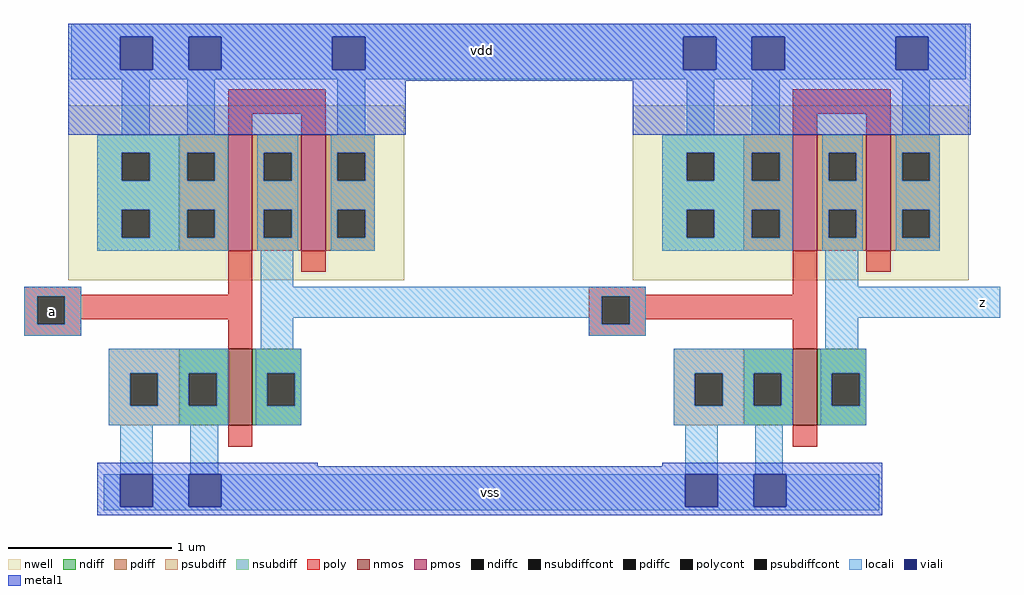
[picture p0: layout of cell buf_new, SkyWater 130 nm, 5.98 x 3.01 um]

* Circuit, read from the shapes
.subckt buf_new vdd a z vss
XM1 n1 a vss vss sky130_fd_pr__nfet_01v8 w=0.47 l=0.15
XM2 z n1 vss vss sky130_fd_pr__nfet_01v8 w=0.47 l=0.15
XM3 n1 a vdd vdd sky130_fd_pr__pfet_01v8 w=0.71 l=0.15 m=2
XM4 z n1 vdd vdd sky130_fd_pr__pfet_01v8 w=0.71 l=0.15 m=2
.ends

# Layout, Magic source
magic
tech sky130A
<< nwell >>
rect 288 88 494 195
rect 634 88 840 195
<< nmos >>
rect 386 -1 401 46
rect 732 -1 747 46
<< pmos >>
rect 386 106 401 177
rect 431 106 446 177
rect 732 106 747 177
rect 777 106 792 177
<< ndiff >>
rect 356 31 386 46
rect 356 11 362 31
rect 379 11 386 31
rect 356 -1 386 11
rect 401 31 431 46
rect 401 11 410 31
rect 427 11 431 31
rect 401 -1 431 11
rect 702 31 732 46
rect 702 11 708 31
rect 725 11 732 31
rect 702 -1 732 11
rect 747 31 777 46
rect 747 11 756 31
rect 773 11 777 31
rect 747 -1 777 11
<< pdiff >>
rect 356 166 386 177
rect 356 149 361 166
rect 378 149 386 166
rect 356 131 386 149
rect 356 114 361 131
rect 378 114 386 131
rect 356 106 386 114
rect 401 166 431 177
rect 401 149 408 166
rect 425 149 431 166
rect 401 131 431 149
rect 401 114 408 131
rect 425 114 431 131
rect 401 106 431 114
rect 446 166 476 177
rect 446 149 453 166
rect 470 149 476 166
rect 446 131 476 149
rect 446 114 453 131
rect 470 114 476 131
rect 446 106 476 114
rect 702 166 732 177
rect 702 149 707 166
rect 724 149 732 166
rect 702 131 732 149
rect 702 114 707 131
rect 724 114 732 131
rect 702 106 732 114
rect 747 166 777 177
rect 747 149 754 166
rect 771 149 777 166
rect 747 131 777 149
rect 747 114 754 131
rect 771 114 777 131
rect 747 106 777 114
rect 792 166 822 177
rect 792 149 799 166
rect 816 149 822 166
rect 792 131 822 149
rect 792 114 799 131
rect 816 114 822 131
rect 792 106 822 114
<< ndiffc >>
rect 362 11 379 31
rect 410 11 427 31
rect 708 11 725 31
rect 756 11 773 31
<< pdiffc >>
rect 361 149 378 166
rect 361 114 378 131
rect 408 149 425 166
rect 408 114 425 131
rect 453 149 470 166
rect 453 114 470 131
rect 707 149 724 166
rect 707 114 724 131
rect 754 149 771 166
rect 754 114 771 131
rect 799 149 816 166
rect 799 114 816 131
<< psubdiff >>
rect 313 31 356 46
rect 313 11 326 31
rect 343 11 356 31
rect 313 -1 356 11
rect 659 31 702 46
rect 659 11 672 31
rect 689 11 702 31
rect 659 -1 702 11
<< nsubdiff >>
rect 306 166 356 177
rect 306 149 321 166
rect 338 149 356 166
rect 306 131 356 149
rect 306 114 321 131
rect 338 114 356 131
rect 306 106 356 114
rect 652 166 702 177
rect 652 149 667 166
rect 684 149 702 166
rect 652 131 702 149
rect 652 114 667 131
rect 684 114 702 131
rect 652 106 702 114
<< psubdiffcont >>
rect 326 11 343 31
rect 672 11 689 31
<< nsubdiffcont >>
rect 321 149 338 166
rect 321 114 338 131
rect 667 149 684 166
rect 667 114 684 131
<< poly >>
rect 386 190 446 205
rect 386 177 401 190
rect 431 177 446 190
rect 732 190 792 205
rect 732 177 747 190
rect 777 177 792 190
rect 261 79 296 84
rect 386 79 401 106
rect 431 93 446 106
rect 261 78 401 79
rect 261 61 269 78
rect 286 64 401 78
rect 286 61 296 64
rect 261 54 296 61
rect 386 46 401 64
rect 607 79 642 84
rect 732 79 747 106
rect 777 93 792 106
rect 607 78 747 79
rect 607 61 615 78
rect 632 64 747 78
rect 632 61 642 64
rect 607 54 642 61
rect 732 46 747 64
rect 386 -14 401 -1
rect 732 -14 747 -1
<< polycont >>
rect 269 61 286 78
rect 615 61 632 78
<< locali >>
rect 290 237 838 245
rect 290 217 320 237
rect 340 217 362 237
rect 382 217 450 237
rect 470 217 665 237
rect 685 217 707 237
rect 727 217 795 237
rect 815 217 838 237
rect 290 211 838 217
rect 321 177 338 211
rect 361 177 378 211
rect 453 177 470 211
rect 667 177 684 211
rect 707 177 724 211
rect 799 177 816 211
rect 306 166 386 177
rect 306 149 321 166
rect 338 149 361 166
rect 378 149 386 166
rect 306 131 386 149
rect 306 114 321 131
rect 338 114 361 131
rect 378 114 386 131
rect 306 106 386 114
rect 404 166 429 177
rect 404 149 408 166
rect 425 149 429 166
rect 404 131 429 149
rect 404 114 408 131
rect 425 114 429 131
rect 404 106 429 114
rect 449 166 476 177
rect 449 149 453 166
rect 470 149 476 166
rect 449 131 476 149
rect 449 114 453 131
rect 470 114 476 131
rect 449 106 476 114
rect 652 166 732 177
rect 652 149 667 166
rect 684 149 707 166
rect 724 149 732 166
rect 652 131 732 149
rect 652 114 667 131
rect 684 114 707 131
rect 724 114 732 131
rect 652 106 732 114
rect 750 166 775 177
rect 750 149 754 166
rect 771 149 775 166
rect 750 131 775 149
rect 750 114 754 131
rect 771 114 775 131
rect 750 106 775 114
rect 795 166 822 177
rect 795 149 799 166
rect 816 149 822 166
rect 795 131 822 149
rect 795 114 799 131
rect 816 114 822 131
rect 795 106 822 114
rect 406 84 426 106
rect 752 84 772 106
rect 261 78 296 84
rect 261 61 269 78
rect 286 61 296 78
rect 261 54 296 61
rect 406 78 642 84
rect 406 65 615 78
rect 406 46 426 65
rect 607 61 615 65
rect 632 61 642 78
rect 607 54 642 61
rect 752 65 859 84
rect 752 46 772 65
rect 313 31 386 46
rect 313 11 326 31
rect 343 11 362 31
rect 379 11 386 31
rect 313 -1 386 11
rect 403 31 431 46
rect 403 11 410 31
rect 427 11 431 31
rect 403 -1 431 11
rect 659 31 732 46
rect 659 11 672 31
rect 689 11 708 31
rect 725 11 732 31
rect 659 -1 732 11
rect 749 31 777 46
rect 749 11 756 31
rect 773 11 777 31
rect 749 -1 777 11
rect 320 -31 340 -1
rect 363 -31 380 -1
rect 666 -31 686 -1
rect 709 -31 726 -1
rect 310 -51 320 -31
rect 340 -51 362 -31
rect 382 -51 666 -31
rect 686 -51 708 -31
rect 728 -51 785 -31
rect 310 -53 785 -51
<< viali >>
rect 320 217 340 237
rect 362 217 382 237
rect 450 217 470 237
rect 665 217 685 237
rect 707 217 727 237
rect 795 217 815 237
rect 320 -51 340 -31
rect 362 -51 382 -31
rect 666 -51 686 -31
rect 708 -51 728 -31
<< metal1 >>
rect 288 237 841 245
rect 288 217 320 237
rect 340 217 362 237
rect 382 217 450 237
rect 470 217 665 237
rect 685 217 707 237
rect 727 217 795 237
rect 815 217 841 237
rect 288 210 841 217
rect 288 177 495 210
rect 634 177 841 210
rect 306 -26 441 -24
rect 652 -26 787 -24
rect 306 -31 787 -26
rect 306 -51 320 -31
rect 340 -51 362 -31
rect 382 -51 666 -31
rect 686 -51 708 -31
rect 728 -51 787 -31
rect 306 -56 787 -51
<< labels >>
rlabel metal1 289 212 795 245 1 vdd
port 3 n
rlabel locali 261 54 296 84 1 a
port 5 n
rlabel locali 837 65 859 84 1 z
port 6 n
rlabel metal1 309 -53 785 -31 1 vss
port 7 n
<< end >>
